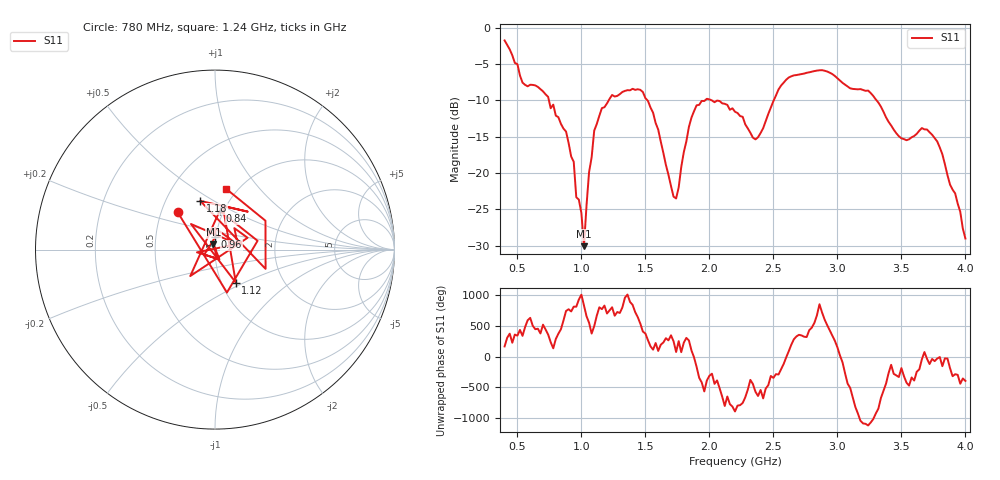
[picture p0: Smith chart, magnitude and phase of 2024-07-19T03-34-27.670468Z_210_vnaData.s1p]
!Created with skrf (http://scikit-rf.org).
# Hz S RI R 50.0
!freq ReS11 ImS11
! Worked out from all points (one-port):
!   181 points, 400 MHz to 4 GHz, reference 50 ohm
!   lowest |S11| = -30.1 dB at 1.02 GHz (marker M1), VSWR 1.06, Z = 49.1 + j2.97 ohm
!   |S11| at or under -10 dB: 746.1 MHz to 1.213 GHz (467.1 MHz wide, 47.7 % of centre); 2.018 GHz to 2.503 GHz (484.6 MHz wide, 21.4 % of centre); 3.306 GHz to end of sweep (the widest 3 of 4)
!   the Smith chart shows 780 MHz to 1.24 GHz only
!   S11 on the Smith chart (normalised r, x): 780 MHz: 0.61, +0.28; 840 MHz: 0.96, +0.43; 960 MHz: 0.99, +0.14; 1.12 GHz: 1.17, -0.45; 1.18 GHz: 0.74, +0.44; 1.24 GHz: 0.89, +0.68
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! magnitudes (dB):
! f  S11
! 400 MHz  -1.8
! 540 MHz  -7.6
! 780 MHz  -10.6
! 840 MHz  -13.2
! 860 MHz  -13.9
! 940 MHz  -18.5
! 960 MHz  -23.3
! 1 GHz  -25.5
! 1.02 GHz  -30.1
! 1.06 GHz  -19.9
! 1.12 GHz  -13.3
! 1.18 GHz  -10.9
! 1.24 GHz  -9.3
! 1.3 GHz  -9.2
! 1.48 GHz  -8.8
! 1.6 GHz  -14.0
! 1.72 GHz  -23.2
! 1.76 GHz  -22.0
! 1.84 GHz  -13.6
! 1.9 GHz  -10.7
! 2.2 GHz  -11.6
! 2.36 GHz  -15.4
! 2.66 GHz  -6.6
! 3.1 GHz  -8.3
! 3.24 GHz  -8.7
! 3.56 GHz  -15.4
! 3.78 GHz  -15.7
! 4 GHz  -29.0
